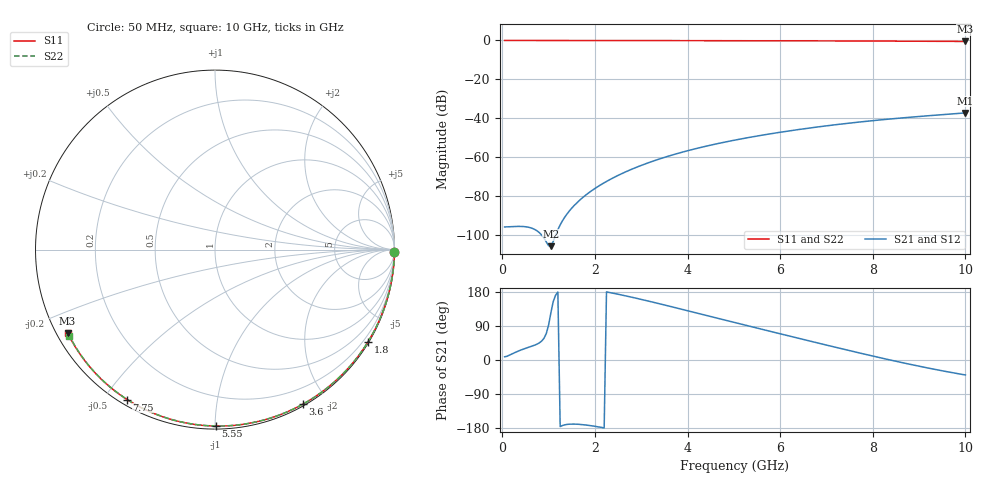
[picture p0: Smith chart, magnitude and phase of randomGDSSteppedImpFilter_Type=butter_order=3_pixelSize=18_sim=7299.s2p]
! freq	dB(S11)	phase(S11)	dB(S12)	phase(S12)
!  dB(S21)	phase(S21)	dB(S22)	phase(S22)
!S-par simulation data
#  GHz  S  DB  R 50
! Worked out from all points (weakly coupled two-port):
!   200 points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, 50 MHz to 10 GHz, reference 50 ohm
!   highest |S21| = -37.15 dB at 10 GHz (marker M1); lowest = -105.5 dB at 1.05 GHz (marker M2)
!   lowest |S11| = -0.5 dB at 10 GHz (marker M3), VSWR 34.23, Z = 1.56 - j13.1 ohm
!   |S11| at or under -10 dB: nowhere
!   |S22| runs from -0.5 to 0.0 dB; largest |S21 - S12| = 0
!   S11 on the Smith chart (normalised r, x): 50 MHz: open; 1.8 GHz: 0.03, -3.61; 3.6 GHz: 0.02, -1.72; 5.55 GHz: 0.02, -1.00; 7.75 GHz: 0.02, -0.57; 10 GHz: 0.03, -0.26
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0.05  -0.00 -0.9  -95.66 8.5  -95.66 8.5  -0.00 -0.9
0.55  -0.01 -9.6  -95.74 32.8  -95.74 32.8  -0.01 -9.4
1.05  -0.02 -18.2  -105.52 125.0  -105.52 125.0  -0.02 -17.9
1.75  -0.04 -30.1  -80.31 -170.8  -80.31 -170.8  -0.04 -29.6
1.8  -0.04 -31.0  -79.35 -171.5  -79.35 -171.5  -0.04 -30.4
1.95  -0.04 -33.5  -76.73 -174.0  -76.73 -174.0  -0.04 -32.9
2.1  -0.05 -36.0  -74.41 -177.0  -74.41 -177.0  -0.04 -35.3
2.3  -0.05 -39.3  -71.66 178.5  -71.66 178.5  -0.05 -38.6
2.5  -0.05 -42.6  -69.21 173.6  -69.21 173.6  -0.05 -41.9
2.9  -0.06 -49.1  -65.02 162.8  -65.02 162.8  -0.06 -48.3
3.4  -0.08 -57.2  -60.73 148.3  -60.73 148.3  -0.07 -56.2
3.6  -0.08 -60.3  -59.24 142.3  -59.24 142.3  -0.08 -59.3
4.3  -0.10 -71.2  -54.79 120.9  -54.79 120.9  -0.10 -70.0
5.05  -0.13 -82.5  -50.98 97.9  -50.98 97.9  -0.12 -81.2
5.55  -0.15 -89.8  -48.83 82.7  -48.83 82.7  -0.14 -88.4
6.1  -0.17 -97.7  -46.73 66.2  -46.73 66.2  -0.17 -96.2
6.7  -0.21 -106.1  -44.71 48.2  -44.71 48.2  -0.20 -104.5
7.2  -0.24 -112.9  -43.21 33.5  -43.21 33.5  -0.24 -111.4
7.75  -0.28 -120.4  -41.74 17.5  -41.74 17.5  -0.28 -118.8
8.35  -0.33 -128.5  -40.33 0.7  -40.33 0.7  -0.33 -126.8
9.2  -0.41 -139.8  -38.61 -21.4  -38.61 -21.4  -0.41 -138.3
10  -0.51 -150.5  -37.15 -39.5  -37.15 -39.5  -0.52 -149.4
